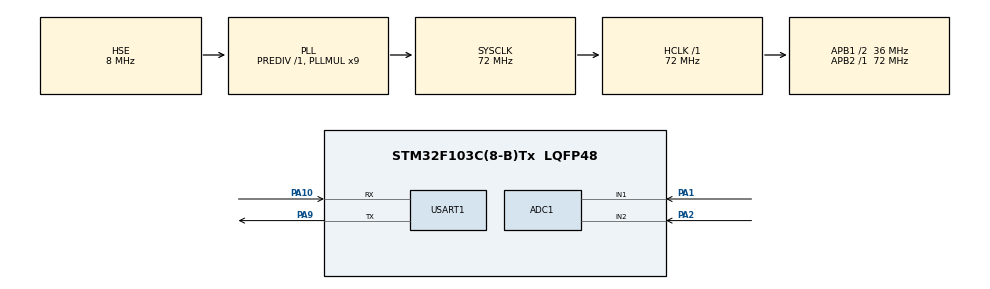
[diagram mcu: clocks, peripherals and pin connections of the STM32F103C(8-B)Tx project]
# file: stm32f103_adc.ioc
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Mcu.Family=STM32F1
RCC.PLLSourceVirtual=RCC_PLLSOURCE_HSE
Dma.ADC1.0.Instance=DMA1_Channel1
PD1-OSC_OUT.Mode=HSE-External-Oscillator
PA10.Mode=Asynchronous
ADC1.ContinuousConvMode=ENABLE
SH.ADCx_IN2.0=ADC1_IN2,IN2
PD0-OSC_IN.Signal=RCC_OSC_IN
RCC.APB1CLKDivider=RCC_HCLK_DIV2
ADC1.SamplingTime-2\#ChannelRegularConversion=ADC_SAMPLETIME_13CYCLES_5
RCC.SYSCLKSource=RCC_SYSCLKSOURCE_PLLCLK
ProjectManager.StackSize=0x400
PD1-OSC_OUT.Signal=RCC_OSC_OUT
RCC.ADCPresc=RCC_ADCPCLK2_DIV6
PA13.Signal=SYS_JTMS-SWDIO
Dma.ADC1.0.PeriphDataAlignment=DMA_PDATAALIGN_WORD
PA9.Mode=Asynchronous
ProjectManager.TargetToolchain=Makefile
Dma.ADC1.0.Mode=DMA_CIRCULAR
RCC.HCLKFreq_Value=72000000
Dma.ADC1.0.Priority=DMA_PRIORITY_HIGH
RCC.APB2TimFreq_Value=72000000
PA9.Signal=USART1_TX
ADC1.Channel-1\#ChannelRegularConversion=ADC_CHANNEL_1
Dma.ADC1.0.Direction=DMA_PERIPH_TO_MEMORY
ADC1.Channel-2\#ChannelRegularConversion=ADC_CHANNEL_2
RCC.USBFreq_Value=72000000
Dma.ADC1.0.MemDataAlignment=DMA_MDATAALIGN_WORD
PA1.Signal=ADCx_IN1
RCC.AHBFreq_Value=72000000
PD0-OSC_IN.Mode=HSE-External-Oscillator
board=custom
RCC.PLLMUL=RCC_PLL_MUL9
RCC.APB2Freq_Value=72000000
ADC1.Rank-2\#ChannelRegularConversion=2
PA14.Mode=Serial_Wire
Dma.ADC1.0.PeriphInc=DMA_PINC_DISABLE
ADC1.NbrOfConversion=2
PA13.Mode=Serial_Wire
Mcu.Name=STM32F103C(8-B)Tx
PA2.Signal=ADCx_IN2
ADC1.SamplingTime-1\#ChannelRegularConversion=ADC_SAMPLETIME_13CYCLES_5
RCC.SYSCLKFreq_VALUE=72000000
Mcu.Package=LQFP48
ADC1.master=1
USART1.VirtualMode=VM_ASYNC
ADC1.Rank-1\#ChannelRegularConversion=1
PA10.Signal=USART1_RX
PA14.Signal=SYS_JTCK-SWCLK
Dma.ADC1.0.MemInc=DMA_MINC_ENABLE
ProjectManager.HeapSize=0x200
NVIC.PriorityGroup=NVIC_PRIORITYGROUP_4
ADC1.NbrOfConversionFlag=1
SH.ADCx_IN1.0=ADC1_IN1,IN1
RCC.APB1TimFreq_Value=72000000
NVIC.DMA1_Channel1_IRQn=true\:0\:0\:false\:false\:true\:false\:true
Dma.Request0=ADC1
RCC.APB1Freq_Value=36000000

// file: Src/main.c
/* USER CODE BEGIN Header */
/**
  ******************************************************************************
  * @file           : main.c
  * @brief          : Main program body
  ******************************************************************************
  * @attention
  *
  * <h2><center>&copy; Copyright (c) 2020 STMicroelectronics.
  * All rights reserved.</center></h2>
  *
  * This software component is licensed by ST under BSD 3-Clause license,
  * the "License"; You may not use this file except in compliance with the
  * License. You may obtain a copy of the License at:
  *                        opensource.org/licenses/BSD-3-Clause
  *
  ******************************************************************************
  */
/* USER CODE END Header */
#include "main.h"
#include "adc.h"
#include "dma.h"
#include "usart.h"
#include "gpio.h"

void SystemClock_Config(void);

/* USER CODE BEGIN 0 */

#ifdef __GNUC__
#define PUTCHAR_PROTOTYPE int __io_putchar(int ch)
#else
#define PUTCHAR_PROTOTYPE int fputc(int ch, FILE *f)
#endif /* __GNUC__ */

PUTCHAR_PROTOTYPE
{
	HAL_UART_Transmit(&huart1, (uint8_t *)&ch, 1, 0xFFFF);
	return ch;
}

/* USER CODE END 0 */

int main(void)
{
	/* USER CODE BEGIN 1 */
	extern ADC_HandleTypeDef hadc1;

	uint32_t ADC_1, ADC_2;
	uint32_t ADC_Value[100];
	uint8_t i = 0;

	/* USER CODE END 1 */

	/* MCU Configuration--------------------------------------------------------*/

	/* Reset of all peripherals, Initializes the Flash interface and the Systick. */
	HAL_Init();

	/* Configure the system clock */
	SystemClock_Config();

	/* Initialize all configured peripherals */
	MX_GPIO_Init();
	MX_DMA_Init();
	MX_ADC1_Init();
	MX_USART1_UART_Init();
	/* USER CODE BEGIN 2 */
	HAL_ADC_Start_DMA(&hadc1, (uint32_t *)&ADC_Value, 100);

	/* USER CODE END 2 */

	/* Infinite loop */
	/* USER CODE BEGIN WHILE */
	while (1)
	{
		HAL_Delay(500);
		for (i = 0, ADC_1 = 0, ADC_2 = 0; i < 100;)
		{
			ADC_1 += ADC_Value[i++];
			ADC_2 += ADC_Value[i++];
		}
		ADC_1 /= 50;
		ADC_2 /= 50;
		printf("\r\nADC DMA Example\r\n\r\n");
		printf("ADC_1=%1.4f\r\n", ADC_1 * 3.3f / 4096);
		printf("ADC_2=%1.4f\r\n", ADC_2 * 3.3f / 4096);
		/* USER CODE END WHILE */

	}
}

void SystemClock_Config(void)
{
	RCC_OscInitTypeDef RCC_OscInitStruct = {0};
	RCC_ClkInitTypeDef RCC_ClkInitStruct = {0};
	RCC_PeriphCLKInitTypeDef PeriphClkInit = {0};

	/** Initializes the RCC Oscillators according to the specified parameters
  * in the RCC_OscInitTypeDef structure.
  */
	RCC_OscInitStruct.OscillatorType = RCC_OSCILLATORTYPE_HSE;
	RCC_OscInitStruct.HSEState = RCC_HSE_ON;
	RCC_OscInitStruct.HSEPredivValue = RCC_HSE_PREDIV_DIV1;
	RCC_OscInitStruct.HSIState = RCC_HSI_ON;
	RCC_OscInitStruct.PLL.PLLState = RCC_PLL_ON;
	RCC_OscInitStruct.PLL.PLLSource = RCC_PLLSOURCE_HSE;
	RCC_OscInitStruct.PLL.PLLMUL = RCC_PLL_MUL9;
	if (HAL_RCC_OscConfig(&RCC_OscInitStruct) != HAL_OK)
	{
		Error_Handler();
	}
	/** Initializes the CPU, AHB and APB buses clocks
  */
	RCC_ClkInitStruct.ClockType = RCC_CLOCKTYPE_HCLK | RCC_CLOCKTYPE_SYSCLK | RCC_CLOCKTYPE_PCLK1 | RCC_CLOCKTYPE_PCLK2;
	RCC_ClkInitStruct.SYSCLKSource = RCC_SYSCLKSOURCE_PLLCLK;
	RCC_ClkInitStruct.AHBCLKDivider = RCC_SYSCLK_DIV1;
	RCC_ClkInitStruct.APB1CLKDivider = RCC_HCLK_DIV2;
	RCC_ClkInitStruct.APB2CLKDivider = RCC_HCLK_DIV1;

	if (HAL_RCC_ClockConfig(&RCC_ClkInitStruct, FLASH_LATENCY_2) != HAL_OK)
	{
		Error_Handler();
	}
	PeriphClkInit.PeriphClockSelection = RCC_PERIPHCLK_ADC;
	PeriphClkInit.AdcClockSelection = RCC_ADCPCLK2_DIV6;
	if (HAL_RCCEx_PeriphCLKConfig(&PeriphClkInit) != HAL_OK)
	{
		Error_Handler();
	}
}

void Error_Handler(void)
{
}

/************************ (C) COPYRIGHT STMicroelectronics *****END OF FILE****/
